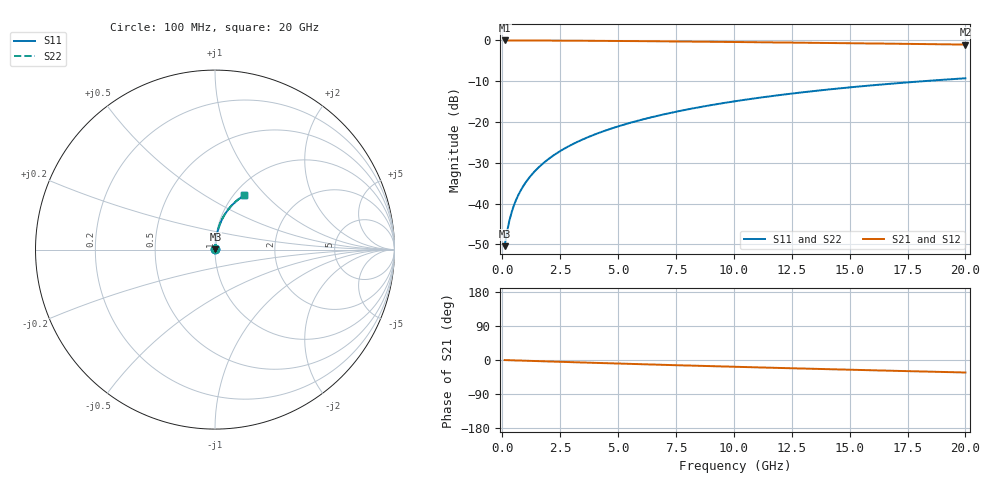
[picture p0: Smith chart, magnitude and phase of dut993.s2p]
! Touchstone file exported from HFSS 2024.1.0
!  File:  C:/UserFiles/LocalFiles/RDL_TSV_Batchsim/temp_RDL_top_993_1779939699.aedt
!  Generated:  11:43:52 AM May 28, 2026
!  Design:  RDL_top
!  Project:  temp_RDL_top_993_1779939699
!  Setup:  Setup1
!  Solution:  Sweep
! Variables:
!  dtsv = 10.80580581um
!  hbump = 3um
!  htsv = 57.54um
!  ldown = 100um
!  lrdl = 451.32um
!  p = 40
!  p1 = 45.76um
!  rhole = 1um
!  t = 450um
!  tdown = 3.915915916um
!  trdl = 4.31um
!  wdown = 15.38538539um
!  wrdl = 16.73um
# GHz S MA R 50.000000
! Terminal data exported
! Port[1] = Box2_T1
! Port[2] = Box2_T2
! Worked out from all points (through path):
!   200 points, 100 MHz to 20 GHz, reference 50 ohm
!   highest |S21| = -0.02 dB at 100 MHz (marker M1); lowest = -1.0 dB at 20 GHz (marker M2)
!   group delay of S21, straight-line fit = 4.55 ps
!   lowest |S11| = -50.5 dB at 100 MHz (marker M3), VSWR 1.01, Z = 50.2 + j0.188 ohm
!   |S11| at or under -10 dB: start of sweep to 18.19 GHz
!   |S22| runs from -50.5 to -9.3 dB; largest |S21 - S12| = 2.7e-15
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0.1  0.002999 38.5  0.9976 -0.2  0.9976 -0.2  0.002999 38.5
! Gamma 0 0 0 0
! Port Impedance 50 0 50 0
0.2  0.004429 56.9  0.9976 -0.4  0.9976 -0.4  0.004429 56.9
0.3  0.006066 65.5  0.9974 -0.6  0.9974 -0.6  0.006065 65.4
0.4  0.007751 70.2  0.9973 -0.8  0.9973 -0.8  0.00775 70.2
0.5  0.009447 73.2  0.9972 -1.0  0.9972 -1.0  0.009445 73.2
0.6  0.01114 75.3  0.9971 -1.2  0.9971 -1.2  0.01114 75.3
0.8  0.01454 78.0  0.9968 -1.6  0.9968 -1.6  0.01454 78.0
1.1  0.01966 80.4  0.9964 -2.1  0.9964 -2.1  0.01966 80.4
1.5  0.02653 82.1  0.9958 -2.9  0.9958 -2.9  0.02653 82.1
1.8  0.03172 82.8  0.9952 -3.5  0.9952 -3.5  0.03172 82.8
2.1  0.03693 83.2  0.9944 -4.0  0.9944 -4.0  0.03693 83.2
2.7  0.04741 83.6  0.9928 -5.2  0.9928 -5.2  0.04741 83.6
3.5  0.06149 83.5  0.99 -6.6  0.99 -6.6  0.0615 83.5
4.2  0.07391 83.2  0.9871 -7.9  0.9871 -7.9  0.07392 83.2
5  0.0882 82.6  0.9835 -9.4  0.9835 -9.4  0.08821 82.6
5.9  0.1044 81.7  0.979 -11.0  0.979 -11.0  0.1044 81.7
6.8  0.1206 80.7  0.9742 -12.5  0.9742 -12.5  0.1207 80.7
8.4  0.1496 78.7  0.965 -15.2  0.965 -15.2  0.1497 78.7
10.1  0.1803 76.4  0.9547 -18.0  0.9547 -18.0  0.1803 76.4
13.4  0.2383 71.5  0.9336 -23.2  0.9336 -23.2  0.2384 71.5
16.7  0.2929 66.5  0.9115 -28.2  0.9115 -28.2  0.293 66.5
20  0.3432 61.6  0.8886 -33.0  0.8886 -33.0  0.3433 61.7
